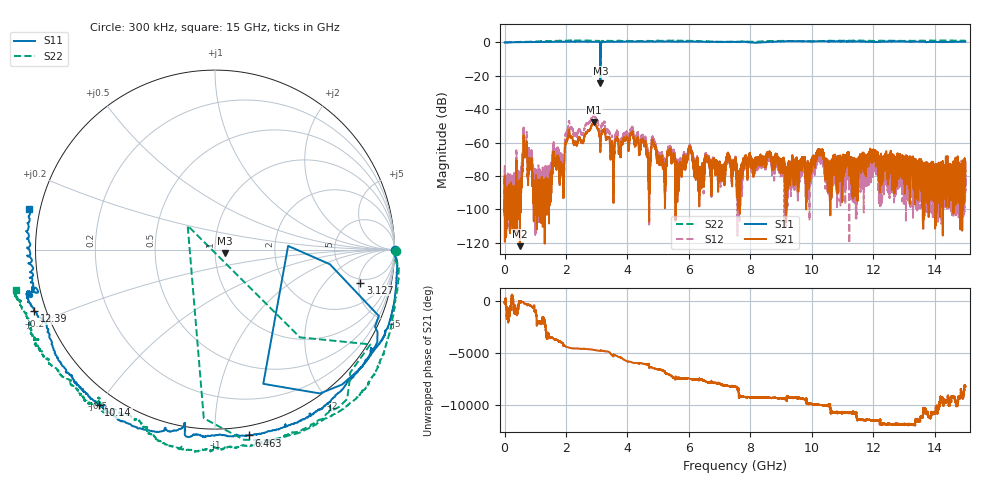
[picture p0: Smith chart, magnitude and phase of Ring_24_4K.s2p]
!Agilent Technologies,N5230C,SG49000117,A.08.50.07
!Agilent N5230C: A.08.50.07
!Date: Wednesday, May 08, 2024 00:04:24
!Correction: S11(Full 2 Port(1,2))
!S21(Full 2 Port(1,2))
!S12(Full 2 Port(1,2))
!S22(Full 2 Port(1,2))
!S2P File: Measurements: S11, S21, S12, S22:
# Hz S  MA  R 50
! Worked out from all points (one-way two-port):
!   20001 points, 300 kHz to 15 GHz, reference 50 ohm
!   highest |S21| = -47.68 dB at 2.912 GHz (marker M1); lowest = -122.1 dB at 496 MHz (marker M2)
!   lowest |S11| = -24.4 dB at 3.117 GHz (marker M3), VSWR 1.13, Z = 56 - j2.22 ohm
!   |S11| at or under -10 dB: 3.115967 GHz to 3.11841 GHz (2.443 MHz wide, 0.0784 % of centre)
!   |S22| runs from -18.2 to 1.2 dB; largest |S21 - S12| = 0.0037
!   S11 on the Smith chart (normalised r, x): 300 kHz: open; 3.127 GHz: 4.43, -5.27; 6.463 GHz: -0.06, -1.20; 10.14 GHz: -0.05, -0.50; 12.39 GHz: -0.03, -0.17; 15 GHz: -0.03, +0.11
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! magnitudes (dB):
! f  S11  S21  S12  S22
! 300 kHz  0.0  -103.7  -81.1  0.1
! 496 MHz  0.2  -122.1  -92.7  0.3
! 664.8 MHz  0.2  -68.2  -62.1  0.4
! 987.3 MHz  0.3  -87.7  -77.8  0.5
! 1.401 GHz  0.4  -97.6  -75.5  0.7
! 1.638 GHz  0.4  -71.5  -66.0  0.9
! 1.864 GHz  0.5  -73.8  -69.9  1.0
! 2.064 GHz  0.4  -55.7  -50.4  1.1
! 2.501 GHz  0.5  -59.9  -55.2  1.2
! 2.912 GHz  0.4  -47.7  -43.4  1.0
! 3.117 GHz  -24.4  -65.8  -65.2  -2.7
! 3.127 GHz  -1.6  -57.7  -54.2  -5.7
! 5 GHz  0.6  -68.6  -66.8  1.0
! 5.625 GHz  0.5  -85.3  -93.7  1.0
! 6.038 GHz  0.5  -62.9  -62.1  0.9
! 6.463 GHz  0.4  -76.4  -75.6  0.7
! 7.5 GHz  0.3  -69.8  -70.9  0.5
! 10 GHz  0.5  -71.9  -73.1  0.7
! 10.14 GHz  0.7  -67.7  -72.5  0.8
! 12.39 GHz  0.5  -71.1  -76.3  1.0
! 12.5 GHz  0.6  -78.0  -86.8  1.0
! 15 GHz  0.5  -77.6  -80.7  1.1
